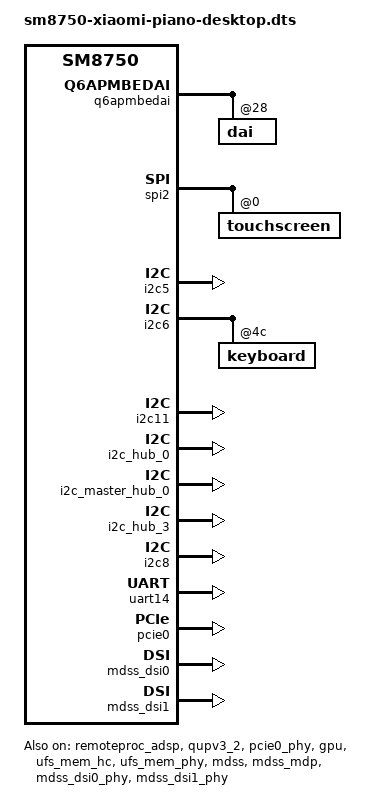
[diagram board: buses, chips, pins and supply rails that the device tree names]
// SPDX-License-Identifier: BSD-3-Clause
/*
 * Xiaomi Pad 8 Pro (piano) as the installed desktop uses it: the board
 * description plus the functions enabled on top of it. Each block was first
 * enabled on its own in a supervised RAM diagnostic (kept on the piano/diag
 * branch); enabling them together does not by itself establish their
 * concurrent operation. USB3 and DP routing still need board validation.
 */

#include "sm8750-xiaomi-piano.dts"

/ {
	/*
	 * Internal DMICs through the LPASS VA macro and the ADSP. Every stock DMIC
	 * line reaches both the TX and the VA macro ("Digital MicN" feeds TX DMICn
	 * and VA DMICn) and the DMIC clock control sits in VA for both; the VA
	 * path owns the clock itself. Which DMIC feeds which decimator is a mixer
	 * (UCM) choice. Unlike the other blocks, this route has not yet run in a
	 * RAM diagnostic of its own.
	 */
	sound {
		compatible = "xiaomi,piano-sndcard", "qcom,sm8750-sndcard",
			     "qcom,sm8450-sndcard";
		model = "Xiaomi-Pad-8-Pro";
		pinctrl-0 = <&sec_tdm_default>;
		pinctrl-names = "default";

		/*
		 * The four speaker amplifiers on the secondary TDM interface, as
		 * stock runs it (backend TDM-LPAIF-RX-SECONDARY, 48 kHz, 4 x
		 * 32-bit slots, slot mask 15; the vendor log shows a 6.144 MHz bit
		 * clock). The SoC provides the clocks; each amplifier takes its
		 * slot from the vendor preset. No speaker protection runs.
		 */
		speaker-dai-link {
			link-name = "Speaker Playback";

			cpu {
				sound-dai = <&q6apmbedai SECONDARY_TDM_RX_0>;
				dai-tdm-slot-num = <4>;
				dai-tdm-slot-width = <32>;
				dai-tdm-slot-rx-mask = <1 1 1 1>;
			};

			codec {
				sound-dai = <&speaker_top_left>, <&speaker_top_right>,
					    <&speaker_bottom_left>, <&speaker_bottom_right>;
				dai-tdm-slot-num = <4>;
				dai-tdm-slot-width = <32>;
			};

			platform {
				sound-dai = <&q6apm>;
			};
		};

		va-dai-link {
			link-name = "VA Capture";

			cpu {
				sound-dai = <&q6apmbedai VA_CODEC_DMA_TX_0>;
			};

			codec {
				sound-dai = <&lpass_vamacro 0>;
			};

			platform {
				sound-dai = <&q6apm>;
			};
		};
	};

};

/*
 * The secondary TDM bit clock, without coupling. Stock sets
 * qcom,tdm-clk-attribute = <4> (inverted) for its vendor PRM path, but with
 * that attribute the ADSP refused to start the port on piano (speakers-2);
 * with 1 the port starts and the amplifiers play (speakers-3, 2026-10-10).
 */
&q6apmbedai {
	#address-cells = <1>;
	#size-cells = <0>;

	dai@28 {
		reg = <SECONDARY_TDM_RX_0>;
		clocks = <&q6prmcc LPASS_CLK_ID_SEC_TDM_IBIT
				   LPASS_CLK_ATTRIBUTE_COUPLE_NO>;
		clock-names = "bclk";
	};
};

&remoteproc_adsp {
	firmware-name = "qcom/sm8750/piano/adsp.mdt",
			"qcom/sm8750/piano/adsp_dtb.mdt";
	status = "okay";
};

&lpass_rxmacro {
	status = "disabled";
};

/* Stock p81 active states of the four DMIC pairs: 4 mA, not 8 mA. */
&dmic01_default {
	clk-pins {
		drive-strength = <4>;
	};

	data-pins {
		drive-strength = <4>;
	};
};

&dmic23_default {
	clk-pins {
		drive-strength = <4>;
	};

	data-pins {
		drive-strength = <4>;
	};
};

&lpass_tlmm {
	dmic45_default: dmic45-default-state {
		clk-pins {
			pins = "gpio12";
			function = "dmic3_clk";
			drive-strength = <4>;
			output-high;
		};

		data-pins {
			pins = "gpio13";
			function = "dmic3_data";
			drive-strength = <4>;
			input-enable;
		};
	};

	dmic67_default: dmic67-default-state {
		clk-pins {
			pins = "gpio17";
			function = "dmic4_clk";
			drive-strength = <4>;
			output-high;
		};

		data-pins {
			pins = "gpio18";
			function = "dmic4_data";
			drive-strength = <4>;
			input-enable;
		};
	};
};

&lpass_vamacro {
	pinctrl-0 = <&dmic01_default>, <&dmic23_default>,
		    <&dmic45_default>, <&dmic67_default>;
	pinctrl-names = "default";

	/* Stock divider 4 at 48 kHz for TX and VA, from the 9.6 MHz DMIC source. */
	qcom,dmic-sample-rate = <2400000>;
};

&lpass_wsa2macro {
	status = "disabled";
};

&lpass_wsamacro {
	status = "disabled";
};

/* GENI engines whose FIFO the firmware disabled transfer through GPI DMA. */
&gpi_dma1 {
	status = "okay";
};

&gpi_dma2 {
	status = "okay";
};

&spi2 {
	status = "okay";

	touchscreen@0 {
		status = "okay";
	};
};

/* Fuel gauges (I2C5, I2C11) and keyboard bridge (I2C6). */
&i2c5 {
	status = "okay";
};

&i2c6 {
	status = "okay";

	keyboard@4c {
		status = "okay";
	};
};

&i2c11 {
	status = "okay";
};

/* The speaker amplifiers (I2C hub 0) and both KTZ8866 backlight chips (hub 3). */
&i2c_hub_0 {
	status = "okay";
};

&i2c_master_hub_0 {
	status = "okay";
};

&i2c_hub_3 {
	status = "okay";
};

&i2c8 {
	status = "okay";
};

&vreg_l11b_1p8 {
	regulator-initial-mode = <RPMH_REGULATOR_MODE_HPM>;
};

&vreg_l14b_3p3 {
	regulator-initial-mode = <RPMH_REGULATOR_MODE_HPM>;
};

&qupv3_2 {
	status = "okay";
};

/* WCN7860: Bluetooth on UART14, WLAN on PCIe0. */
&uart14 {
	status = "okay";
};

&wcn7860_pmu {
	status = "okay";
};

&pcie0 {
	status = "okay";
};

&pcie0_phy {
	status = "okay";
};

&gpu {
	status = "okay";
};

/* The root file system. */
&ufs_mem_hc {
	status = "okay";
};

&ufs_mem_phy {
	status = "okay";
};

/* Native dual-DSI display, wired from this unit's stock P81 profile. */
&mdss {
	status = "okay";
};

&mdss_mdp {
	status = "okay";
};

&mdss_dsi0 {
	status = "okay";
};

&mdss_dsi1 {
	status = "okay";
};

&mdss_dsi0_phy {
	status = "okay";
};

&mdss_dsi1_phy {
	status = "okay";
};

&panel_vsp {
	status = "okay";
};

&panel_vsn {
	status = "okay";
};

&vreg_l12b_1p9 {
	status = "okay";
};

&vreg_l3i_0p88 {
	status = "okay";
};
